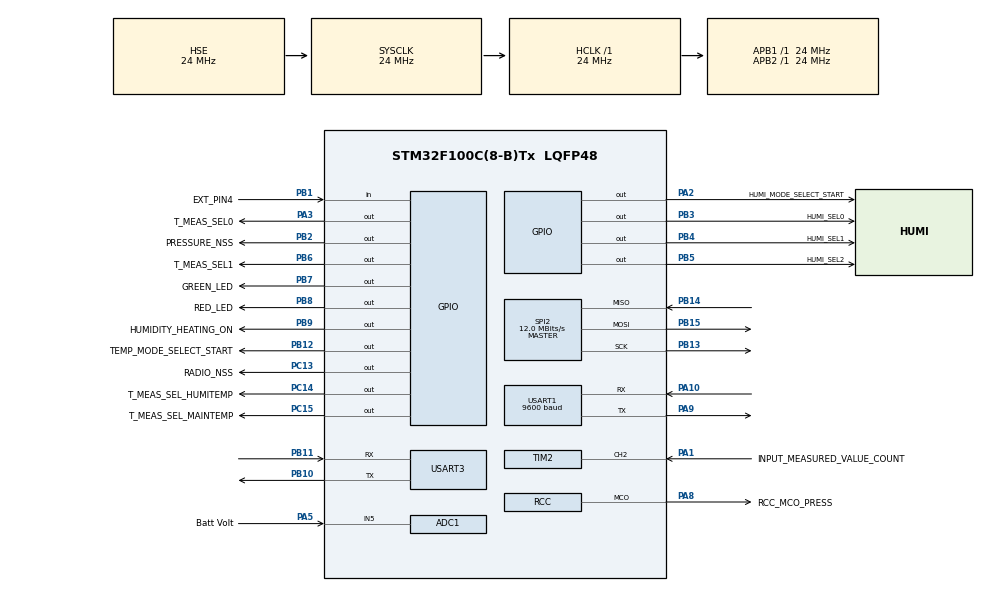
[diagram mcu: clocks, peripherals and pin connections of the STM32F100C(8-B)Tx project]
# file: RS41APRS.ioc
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ADC1.Channel-0\#ChannelRegularConversion=ADC_CHANNEL_5
ADC1.NbrOfConversionFlag=1
ADC1.Rank-0\#ChannelRegularConversion=1
ADC1.SamplingTime-0\#ChannelRegularConversion=ADC_SAMPLETIME_1CYCLE_5
ADC1.master=1
Mcu.Family=STM32F1
Mcu.Name=STM32F100C(8-B)Tx
Mcu.Package=LQFP48
NVIC.PriorityGroup=NVIC_PRIORITYGROUP_4
NVIC.TIM2_IRQn=true\:0\:0\:false\:false\:true\:true\:true\:true
NVIC.TIM6_DAC_IRQn=true\:15\:0\:false\:false\:true\:false\:true\:true
NVIC.TIM7_IRQn=true\:0\:0\:false\:false\:true\:true\:true\:true
NVIC.TimeBase=TIM6_DAC_IRQn
NVIC.TimeBaseIP=TIM6
PA1.GPIO_Label=INPUT_MEASURED_VALUE_COUNT
PA1.GPIO_Mode=GPIO_MODE_INPUT
PA1.GPIO_PuPd=GPIO_NOPULL
PA1.Signal=S_TIM2_CH2
PA10.Mode=Asynchronous
PA10.Signal=USART1_RX
PA13.Mode=Serial_Wire
PA13.Signal=SYS_JTMS-SWDIO
PA14.Mode=Serial_Wire
PA14.Signal=SYS_JTCK-SWCLK
PA2.GPIO_Label=HUMI_MODE_SELECT_START
PA2.GPIO_PuPd=GPIO_NOPULL
PA2.PinState=GPIO_PIN_RESET
PA2.Signal=GPIO_Output
PA3.GPIO_Label=T_MEAS_SEL0
PA3.Signal=GPIO_Output
PA5.GPIO_Label=Batt Volt
PA5.Signal=ADCx_IN5
PA8.GPIO_Label=RCC_MCO_PRESS
PA8.Mode=Clock-out
PA8.Signal=RCC_MCO
PA9.Mode=Asynchronous
PA9.Signal=USART1_TX
PB1.GPIO_Label=EXT_PIN4
PB1.Signal=GPIO_Input
PB10.Mode=Asynchronous
PB10.Signal=USART3_TX
PB11.Mode=Asynchronous
PB11.Signal=USART3_RX
PB12.GPIO_Label=TEMP_MODE_SELECT_START
PB12.GPIO_PuPd=GPIO_NOPULL
PB12.Signal=GPIO_Output
PB13.Mode=Full_Duplex_Master
PB13.Signal=SPI2_SCK
PB14.Mode=Full_Duplex_Master
PB14.Signal=SPI2_MISO
PB15.Mode=Full_Duplex_Master
PB15.Signal=SPI2_MOSI
PB2.GPIO_Label=PRESSURE_NSS
PB2.Signal=GPIO_Output
PB3.GPIO_Label=HUMI_SEL0
PB3.Signal=GPIO_Output
PB4.GPIO_Label=HUMI_SEL1
PB4.Signal=GPIO_Output
PB5.GPIO_Label=HUMI_SEL2
PB5.Signal=GPIO_Output
PB6.GPIO_Label=T_MEAS_SEL1
PB6.Signal=GPIO_Output
PB7.GPIO_Label=GREEN_LED
PB7.Signal=GPIO_Output
PB8.GPIO_Label=RED_LED
PB8.Signal=GPIO_Output
PB9.GPIO_Label=HUMIDITY_HEATING_ON
PB9.Signal=GPIO_Output
PC13-TAMPER-RTC.GPIO_Label=RADIO_NSS
PC13-TAMPER-RTC.Signal=GPIO_Output
PC14-OSC32_IN.GPIO_Label=T_MEAS_SEL_HUMITEMP
PC14-OSC32_IN.Signal=GPIO_Output
PC15-OSC32_OUT.GPIO_Label=T_MEAS_SEL_MAINTEMP
PC15-OSC32_OUT.Signal=GPIO_Output
PD0-OSC_IN.Mode=HSE-External-Oscillator
PD0-OSC_IN.Signal=RCC_OSC_IN
PD1-OSC_OUT.Mode=HSE-External-Oscillator
PD1-OSC_OUT.Signal=RCC_OSC_OUT
ProjectManager.HeapSize=0x200
ProjectManager.StackSize=0x400
ProjectManager.TargetToolchain=STM32CubeIDE
RCC.AHBFreq_Value=24000000
RCC.APB1Freq_Value=24000000
RCC.APB1TimFreq_Value=24000000
RCC.APB2Freq_Value=24000000
RCC.APB2TimFreq_Value=24000000
RCC.HCLKFreq_Value=24000000
RCC.HSEDivPLL=RCC_HSE_PREDIV_DIV2
RCC.HSE_VALUE=24000000
RCC.PLLSource=RCC_PLLSOURCE_HSE
RCC.RCC_MCOSource=RCC_MCO1SOURCE_HSE
RCC.SYSCLKFreq_VALUE=24000000
RCC.SYSCLKSource=RCC_SYSCLKSOURCE_HSE
SH.ADCx_IN5.0=ADC1_IN5,IN5
SH.S_TIM2_CH2.0=TIM2_CH2,Input_Capture2_from_TI2
SPI2.CalculateBaudRate=12.0 MBits/s
SPI2.Direction=SPI_DIRECTION_2LINES
SPI2.Mode=SPI_MODE_MASTER
SPI2.VirtualType=VM_MASTER
TIM1.Period=0xFFFF-1
TIM1.Prescaler=24-1
TIM15.AutoReloadPreload=TIM_AUTORELOAD_PRELOAD_ENABLE
TIM15.Channel-PWM\ Generation2\ No\ Output=TIM_CHANNEL_2
TIM15.Period=4999
TIM15.Prescaler=24-1
TIM15.Pulse-PWM\ Generation2\ No\ Output=2000
TIM2.Channel-Input_Capture2_from_TI2=TIM_CHANNEL_2
TIM2.Prescaler=0
TIM7.Period=1000
TIM7.Prescaler=23999
USART1.BaudRate=9600
USART1.VirtualMode=VM_ASYNC
USART3.VirtualMode=VM_ASYNC
VP_SYS_VS_tim6.Mode=TIM6
VP_TIM15_VS_ClockSourceINT.Mode=Internal
VP_TIM15_VS_no_output2.Mode=PWM Generation2 No Output
VP_TIM1_VS_ClockSourceINT.Mode=Internal
VP_TIM2_VS_ClockSourceINT.Mode=Internal
VP_TIM7_VS_ClockSourceINT.Mode=Enable_Timer
board=custom

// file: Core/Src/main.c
/* USER CODE BEGIN Header */
/**
  ******************************************************************************
  * @file           : main.c
  * @brief          : Main program body
  ******************************************************************************
  * @attention
  *
  * Copyright (c) 2024 STMicroelectronics.
  * All rights reserved.
  *
  * This software is licensed under terms that can be found in the LICENSE file
  * in the root directory of this software component.
  * If no LICENSE file comes with this software, it is provided AS-IS.
  *
  ******************************************************************************
  */
/* USER CODE END Header */
#include "main.h"

/* USER CODE BEGIN Includes */
#include <string.h>
#include "aprsModem.h"
#include "radio.h"
#include "bell.h"
#include "Setup_Si4032.h"
#include "config.h"
#include "cw.h"
#include "gps.h"
#include "ubxg6010.h"

/* USER CODE END Includes */

ADC_HandleTypeDef hadc1;

SPI_HandleTypeDef hspi2;

TIM_HandleTypeDef htim1;
TIM_HandleTypeDef htim2;
TIM_HandleTypeDef htim7;
TIM_HandleTypeDef htim15;

UART_HandleTypeDef huart1;
UART_HandleTypeDef huart3;

void SystemClock_Config(void);
static void MX_GPIO_Init(void);
static void MX_USART1_UART_Init(void);
static void MX_ADC1_Init(void);
static void MX_USART3_UART_Init(void);
static void MX_TIM2_Init(void);
static void MX_TIM7_Init(void);
static void MX_TIM15_Init(void);
static void MX_SPI2_Init(void);
static void MX_TIM1_Init(void);

/* USER CODE BEGIN 0 */
int oneSecTic       = 0;
int sendAPRSInfo    = 0;
uint16_t pwmPeriod;
uint8_t greenLEDToggleRate =5;
uint8_t fix = 0;

void setGreenLEDToggleRate(uint8_t LEDToggleRate)
{
	greenLEDToggleRate = LEDToggleRate;
}

/* USER CODE END 0 */

int main(void)
{
  /* USER CODE BEGIN 1 */

	HAL_StatusTypeDef HAL_Status;
	TIM_OC_InitTypeDef sConfigOC = {0};

  /* USER CODE END 1 */

  /* MCU Configuration--------------------------------------------------------*/

  /* Reset of all peripherals, Initializes the Flash interface and the Systick. */
  HAL_Init();

  /* Configure the system clock */
  SystemClock_Config();

  /* Initialize all configured peripherals */
  MX_GPIO_Init();
  MX_USART1_UART_Init();
  MX_ADC1_Init();
  MX_USART3_UART_Init();
  MX_TIM2_Init();
  MX_TIM7_Init();
  MX_TIM15_Init();
  MX_SPI2_Init();
  MX_TIM1_Init();
  /* USER CODE BEGIN 2 */

  bellInitialize(&htim1,&htim15);
  pwmPeriod = bellModemPwmGetPeriod(BELL_SPACE_TONE);

  htim15.Init.Prescaler = 24 - 1; // tick every 1/1000000 s
  htim15.Init.CounterMode = TIM_COUNTERMODE_UP;
  htim15.Init.Period = pwmPeriod;
  htim15.Init.ClockDivision = TIM_CLOCKDIVISION_DIV1;
  htim15.Init.RepetitionCounter = 0;
  if (HAL_TIM_Base_Init(&htim15) != HAL_OK)
  {
	Error_Handler();
  }

  sConfigOC.OCMode = TIM_OCMODE_TOGGLE;
  sConfigOC.Pulse = 0;
  sConfigOC.OCPolarity = TIM_OCPOLARITY_HIGH;
  sConfigOC.OCNPolarity = TIM_OCNPOLARITY_HIGH;
  sConfigOC.OCFastMode = TIM_OCFAST_ENABLE;
  sConfigOC.OCIdleState = TIM_OCIDLESTATE_RESET;
  sConfigOC.OCNIdleState = TIM_OCNIDLESTATE_RESET;
  if (HAL_TIM_PWM_ConfigChannel(&htim15, &sConfigOC, TIM_CHANNEL_2) != HAL_OK)
  {
	  Error_Handler();
  }

  HAL_Status = setupRadio(&hspi2);
  if(HAL_Status == HAL_OK)
  {
	  //Turn tx on
	  HAL_Status = enableTx();

	  if (HAL_SPI_DeInit(&hspi2) != HAL_OK)
	  {
		Error_Handler();
	  }

	  remapTIM15();

	  sendCallCW(CALL_SIGN,strlen(CALL_SIGN));

	  if (HAL_SPI_Init(&hspi2) != HAL_OK)
	  {
		Error_Handler();
	  }
	  //Turn tx off
	  HAL_Status = disableTx();
	  HAL_GPIO_WritePin(GPIOB, RED_LED_Pin, GPIO_PIN_SET);

	  HAL_Delay(1000);
	  HAL_GPIO_WritePin(GPIOB, GREEN_LED_Pin, GPIO_PIN_SET);
	  HAL_Status = gpsInit(&huart1);
	  if(HAL_Status == HAL_OK)
	  {
		  if (HAL_TIM_Base_Start_IT(&htim7) != HAL_OK)
		  {
		    Error_Handler();
		  }
	  }
  }

  /* USER CODE END 2 */

  /* Infinite loop */
  /* USER CODE BEGIN WHILE */
  while (1)
  {

	  HAL_Status   = ubxg6010ProcessGPSData(&huart1);

	  if(sendAPRSInfo)
	  {
		  fix = gpsUpdatetData();
		  if (fix)
		  {
			  //Turn tx on
			  HAL_Status = enableTx();

			  if (HAL_SPI_DeInit(&hspi2) != HAL_OK)
			  {
				Error_Handler();
			  }
			  __HAL_AFIO_REMAP_TIM15_ENABLE();
			  remapTIM15();

			  aprsModemSend();
			  updateGoodPacketCount();
			  __HAL_AFIO_REMAP_TIM15_DISABLE();
			  if (HAL_SPI_Init(&hspi2) != HAL_OK)
			  {
				Error_Handler();
			  }
			  //Turn tx off
			  HAL_Status = disableTx();
			  HAL_GPIO_WritePin(GPIOB, RED_LED_Pin, GPIO_PIN_SET);
			  sendAPRSInfo = 0;
		  }
	  }

	  HAL_Delay(10);

    /* USER CODE END WHILE */

  }
}

void SystemClock_Config(void)
{
  RCC_OscInitTypeDef RCC_OscInitStruct = {0};
  RCC_ClkInitTypeDef RCC_ClkInitStruct = {0};
  RCC_PeriphCLKInitTypeDef PeriphClkInit = {0};

  /** Initializes the RCC Oscillators according to the specified parameters
  * in the RCC_OscInitTypeDef structure.
  */
  RCC_OscInitStruct.OscillatorType = RCC_OSCILLATORTYPE_HSE;
  RCC_OscInitStruct.HSEState = RCC_HSE_ON;
  RCC_OscInitStruct.PLL.PLLState = RCC_PLL_NONE;
  if (HAL_RCC_OscConfig(&RCC_OscInitStruct) != HAL_OK)
  {
    Error_Handler();
  }

  /** Initializes the CPU, AHB and APB buses clocks
  */
  RCC_ClkInitStruct.ClockType = RCC_CLOCKTYPE_HCLK|RCC_CLOCKTYPE_SYSCLK
                              |RCC_CLOCKTYPE_PCLK1|RCC_CLOCKTYPE_PCLK2;
  RCC_ClkInitStruct.SYSCLKSource = RCC_SYSCLKSOURCE_HSE;
  RCC_ClkInitStruct.AHBCLKDivider = RCC_SYSCLK_DIV1;
  RCC_ClkInitStruct.APB1CLKDivider = RCC_HCLK_DIV1;
  RCC_ClkInitStruct.APB2CLKDivider = RCC_HCLK_DIV1;

  if (HAL_RCC_ClockConfig(&RCC_ClkInitStruct, FLASH_LATENCY_0) != HAL_OK)
  {
    Error_Handler();
  }
  PeriphClkInit.PeriphClockSelection = RCC_PERIPHCLK_ADC;
  PeriphClkInit.AdcClockSelection = RCC_ADCPCLK2_DIV2;
  if (HAL_RCCEx_PeriphCLKConfig(&PeriphClkInit) != HAL_OK)
  {
    Error_Handler();
  }
  HAL_RCC_MCOConfig(RCC_MCO, RCC_MCO1SOURCE_HSE, RCC_MCODIV_1);
}

static void MX_ADC1_Init(void)
{

  ADC_ChannelConfTypeDef sConfig = {0};

  /** Common config
  */
  hadc1.Instance = ADC1;
  hadc1.Init.ScanConvMode = ADC_SCAN_DISABLE;
  hadc1.Init.ContinuousConvMode = DISABLE;
  hadc1.Init.DiscontinuousConvMode = DISABLE;
  hadc1.Init.ExternalTrigConv = ADC_SOFTWARE_START;
  hadc1.Init.DataAlign = ADC_DATAALIGN_RIGHT;
  hadc1.Init.NbrOfConversion = 1;
  if (HAL_ADC_Init(&hadc1) != HAL_OK)
  {
    Error_Handler();
  }

  /** Configure Regular Channel
  */
  sConfig.Channel = ADC_CHANNEL_5;
  sConfig.Rank = ADC_REGULAR_RANK_1;
  sConfig.SamplingTime = ADC_SAMPLETIME_1CYCLE_5;
  if (HAL_ADC_ConfigChannel(&hadc1, &sConfig) != HAL_OK)
  {
    Error_Handler();
  }

}

static void MX_SPI2_Init(void)
{

  /* SPI2 parameter configuration*/
  hspi2.Instance = SPI2;
  hspi2.Init.Mode = SPI_MODE_MASTER;
  hspi2.Init.Direction = SPI_DIRECTION_2LINES;
  hspi2.Init.DataSize = SPI_DATASIZE_8BIT;
  hspi2.Init.CLKPolarity = SPI_POLARITY_LOW;
  hspi2.Init.CLKPhase = SPI_PHASE_1EDGE;
  hspi2.Init.NSS = SPI_NSS_SOFT;
  hspi2.Init.BaudRatePrescaler = SPI_BAUDRATEPRESCALER_2;
  hspi2.Init.FirstBit = SPI_FIRSTBIT_MSB;
  hspi2.Init.TIMode = SPI_TIMODE_DISABLE;
  hspi2.Init.CRCCalculation = SPI_CRCCALCULATION_DISABLE;
  hspi2.Init.CRCPolynomial = 10;
  if (HAL_SPI_Init(&hspi2) != HAL_OK)
  {
    Error_Handler();
  }

}

static void MX_TIM1_Init(void)
{

  TIM_ClockConfigTypeDef sClockSourceConfig = {0};
  TIM_MasterConfigTypeDef sMasterConfig = {0};

  htim1.Instance = TIM1;
  htim1.Init.Prescaler = 24-1;
  htim1.Init.CounterMode = TIM_COUNTERMODE_UP;
  htim1.Init.Period = 0xFFFF-1;
  htim1.Init.ClockDivision = TIM_CLOCKDIVISION_DIV1;
  htim1.Init.RepetitionCounter = 0;
  htim1.Init.AutoReloadPreload = TIM_AUTORELOAD_PRELOAD_DISABLE;
  if (HAL_TIM_Base_Init(&htim1) != HAL_OK)
  {
    Error_Handler();
  }
  sClockSourceConfig.ClockSource = TIM_CLOCKSOURCE_INTERNAL;
  if (HAL_TIM_ConfigClockSource(&htim1, &sClockSourceConfig) != HAL_OK)
  {
    Error_Handler();
  }
  sMasterConfig.MasterOutputTrigger = TIM_TRGO_RESET;
  sMasterConfig.MasterSlaveMode = TIM_MASTERSLAVEMODE_DISABLE;
  if (HAL_TIMEx_MasterConfigSynchronization(&htim1, &sMasterConfig) != HAL_OK)
  {
    Error_Handler();
  }
  /* USER CODE BEGIN TIM1_Init 2 */
  HAL_TIM_Base_Start(&htim1);
  /* USER CODE END TIM1_Init 2 */

}

static void MX_TIM2_Init(void)
{

  TIM_ClockConfigTypeDef sClockSourceConfig = {0};
  TIM_MasterConfigTypeDef sMasterConfig = {0};
  TIM_IC_InitTypeDef sConfigIC = {0};

  htim2.Instance = TIM2;
  htim2.Init.Prescaler = 0;
  htim2.Init.CounterMode = TIM_COUNTERMODE_UP;
  htim2.Init.Period = 65535;
  htim2.Init.ClockDivision = TIM_CLOCKDIVISION_DIV1;
  htim2.Init.AutoReloadPreload = TIM_AUTORELOAD_PRELOAD_DISABLE;
  if (HAL_TIM_Base_Init(&htim2) != HAL_OK)
  {
    Error_Handler();
  }
  sClockSourceConfig.ClockSource = TIM_CLOCKSOURCE_INTERNAL;
  if (HAL_TIM_ConfigClockSource(&htim2, &sClockSourceConfig) != HAL_OK)
  {
    Error_Handler();
  }
  if (HAL_TIM_IC_Init(&htim2) != HAL_OK)
  {
    Error_Handler();
  }
  sMasterConfig.MasterOutputTrigger = TIM_TRGO_RESET;
  sMasterConfig.MasterSlaveMode = TIM_MASTERSLAVEMODE_DISABLE;
  if (HAL_TIMEx_MasterConfigSynchronization(&htim2, &sMasterConfig) != HAL_OK)
  {
    Error_Handler();
  }
  sConfigIC.ICPolarity = TIM_INPUTCHANNELPOLARITY_RISING;
  sConfigIC.ICSelection = TIM_ICSELECTION_DIRECTTI;
  sConfigIC.ICPrescaler = TIM_ICPSC_DIV1;
  sConfigIC.ICFilter = 0;
  if (HAL_TIM_IC_ConfigChannel(&htim2, &sConfigIC, TIM_CHANNEL_2) != HAL_OK)
  {
    Error_Handler();
  }

}

static void MX_TIM7_Init(void)
{

  TIM_MasterConfigTypeDef sMasterConfig = {0};

  htim7.Instance = TIM7;
  htim7.Init.Prescaler = 23999;
  htim7.Init.CounterMode = TIM_COUNTERMODE_UP;
  htim7.Init.Period = 1000;
  htim7.Init.AutoReloadPreload = TIM_AUTORELOAD_PRELOAD_DISABLE;
  if (HAL_TIM_Base_Init(&htim7) != HAL_OK)
  {
    Error_Handler();
  }
  sMasterConfig.MasterOutputTrigger = TIM_TRGO_RESET;
  sMasterConfig.MasterSlaveMode = TIM_MASTERSLAVEMODE_DISABLE;
  if (HAL_TIMEx_MasterConfigSynchronization(&htim7, &sMasterConfig) != HAL_OK)
  {
    Error_Handler();
  }

}

static void MX_TIM15_Init(void)
{

  TIM_ClockConfigTypeDef sClockSourceConfig = {0};
  TIM_MasterConfigTypeDef sMasterConfig = {0};
  TIM_OC_InitTypeDef sConfigOC = {0};
  TIM_BreakDeadTimeConfigTypeDef sBreakDeadTimeConfig = {0};

  htim15.Instance = TIM15;
  htim15.Init.Prescaler = 24-1;
  htim15.Init.CounterMode = TIM_COUNTERMODE_UP;
  htim15.Init.Period = 3;
  htim15.Init.ClockDivision = TIM_CLOCKDIVISION_DIV1;
  htim15.Init.RepetitionCounter = 0;
  htim15.Init.AutoReloadPreload = TIM_AUTORELOAD_PRELOAD_ENABLE;
  if (HAL_TIM_Base_Init(&htim15) != HAL_OK)
  {
    Error_Handler();
  }
  sClockSourceConfig.ClockSource = TIM_CLOCKSOURCE_INTERNAL;
  if (HAL_TIM_ConfigClockSource(&htim15, &sClockSourceConfig) != HAL_OK)
  {
    Error_Handler();
  }
  if (HAL_TIM_PWM_Init(&htim15) != HAL_OK)
  {
    Error_Handler();
  }
  sMasterConfig.MasterOutputTrigger = TIM_TRGO_RESET;
  sMasterConfig.MasterSlaveMode = TIM_MASTERSLAVEMODE_DISABLE;
  if (HAL_TIMEx_MasterConfigSynchronization(&htim15, &sMasterConfig) != HAL_OK)
  {
    Error_Handler();
  }
  sConfigOC.OCMode = TIM_OCMODE_PWM1;
  sConfigOC.Pulse = 0;
  sConfigOC.OCPolarity = TIM_OCPOLARITY_HIGH;
  sConfigOC.OCNPolarity = TIM_OCNPOLARITY_HIGH;
  sConfigOC.OCFastMode = TIM_OCFAST_DISABLE;
  sConfigOC.OCIdleState = TIM_OCIDLESTATE_RESET;
  sConfigOC.OCNIdleState = TIM_OCNIDLESTATE_RESET;
  if (HAL_TIM_PWM_ConfigChannel(&htim15, &sConfigOC, TIM_CHANNEL_2) != HAL_OK)
  {
    Error_Handler();
  }
  sBreakDeadTimeConfig.OffStateRunMode = TIM_OSSR_DISABLE;
  sBreakDeadTimeConfig.OffStateIDLEMode = TIM_OSSI_DISABLE;
  sBreakDeadTimeConfig.LockLevel = TIM_LOCKLEVEL_OFF;
  sBreakDeadTimeConfig.DeadTime = 0;
  sBreakDeadTimeConfig.BreakState = TIM_BREAK_DISABLE;
  sBreakDeadTimeConfig.BreakPolarity = TIM_BREAKPOLARITY_HIGH;
  sBreakDeadTimeConfig.AutomaticOutput = TIM_AUTOMATICOUTPUT_DISABLE;
  if (HAL_TIMEx_ConfigBreakDeadTime(&htim15, &sBreakDeadTimeConfig) != HAL_OK)
  {
    Error_Handler();
  }
  /* USER CODE BEGIN TIM15_Init 2 */

  HAL_TIM_PWM_Start(&htim15,TIM_CHANNEL_2);
  /* USER CODE END TIM15_Init 2 */

}

static void MX_USART1_UART_Init(void)
{

  huart1.Instance = USART1;
  huart1.Init.BaudRate = 9600;
  huart1.Init.WordLength = UART_WORDLENGTH_8B;
  huart1.Init.StopBits = UART_STOPBITS_1;
  huart1.Init.Parity = UART_PARITY_NONE;
  huart1.Init.Mode = UART_MODE_TX_RX;
  huart1.Init.HwFlowCtl = UART_HWCONTROL_NONE;
  huart1.Init.OverSampling = UART_OVERSAMPLING_16;
  if (HAL_UART_Init(&huart1) != HAL_OK)
  {
    Error_Handler();
  }

}

static void MX_USART3_UART_Init(void)
{

  huart3.Instance = USART3;
  huart3.Init.BaudRate = 115200;
  huart3.Init.WordLength = UART_WORDLENGTH_8B;
  huart3.Init.StopBits = UART_STOPBITS_1;
  huart3.Init.Parity = UART_PARITY_NONE;
  huart3.Init.Mode = UART_MODE_TX_RX;
  huart3.Init.HwFlowCtl = UART_HWCONTROL_NONE;
  huart3.Init.OverSampling = UART_OVERSAMPLING_16;
  if (HAL_UART_Init(&huart3) != HAL_OK)
  {
    Error_Handler();
  }

}

static void MX_GPIO_Init(void)
{
  GPIO_InitTypeDef GPIO_InitStruct = {0};

  /* GPIO Ports Clock Enable */
  __HAL_RCC_GPIOC_CLK_ENABLE();
  __HAL_RCC_GPIOD_CLK_ENABLE();
  __HAL_RCC_GPIOA_CLK_ENABLE();
  __HAL_RCC_GPIOB_CLK_ENABLE();

  /*Configure GPIO pin Output Level */
  HAL_GPIO_WritePin(GPIOC, RADIO_NSS_Pin|T_MEAS_SEL_HUMITEMP_Pin|T_MEAS_SEL_MAINTEMP_Pin, GPIO_PIN_RESET);

  /*Configure GPIO pin Output Level */
  HAL_GPIO_WritePin(GPIOA, HUMI_MODE_SELECT_START_Pin|T_MEAS_SEL0_Pin, GPIO_PIN_RESET);

  /*Configure GPIO pin Output Level */
  HAL_GPIO_WritePin(GPIOB, PRESSURE_NSS_Pin|TEMP_MODE_SELECT_START_Pin|HUMI_SEL0_Pin|HUMI_SEL1_Pin
                          |HUMI_SEL2_Pin|T_MEAS_SEL1_Pin|GREEN_LED_Pin|RED_LED_Pin
                          |HUMIDITY_HEATING_ON_Pin, GPIO_PIN_RESET);

  /*Configure GPIO pins : RADIO_NSS_Pin T_MEAS_SEL_HUMITEMP_Pin T_MEAS_SEL_MAINTEMP_Pin */
  GPIO_InitStruct.Pin = RADIO_NSS_Pin|T_MEAS_SEL_HUMITEMP_Pin|T_MEAS_SEL_MAINTEMP_Pin;
  GPIO_InitStruct.Mode = GPIO_MODE_OUTPUT_PP;
  GPIO_InitStruct.Pull = GPIO_NOPULL;
  GPIO_InitStruct.Speed = GPIO_SPEED_FREQ_LOW;
  HAL_GPIO_Init(GPIOC, &GPIO_InitStruct);

  /*Configure GPIO pins : HUMI_MODE_SELECT_START_Pin T_MEAS_SEL0_Pin */
  GPIO_InitStruct.Pin = HUMI_MODE_SELECT_START_Pin|T_MEAS_SEL0_Pin;
  GPIO_InitStruct.Mode = GPIO_MODE_OUTPUT_PP;
  GPIO_InitStruct.Pull = GPIO_NOPULL;
  GPIO_InitStruct.Speed = GPIO_SPEED_FREQ_LOW;
  HAL_GPIO_Init(GPIOA, &GPIO_InitStruct);

  /*Configure GPIO pin : EXT_PIN4_Pin */
  GPIO_InitStruct.Pin = EXT_PIN4_Pin;
  GPIO_InitStruct.Mode = GPIO_MODE_INPUT;
  GPIO_InitStruct.Pull = GPIO_NOPULL;
  HAL_GPIO_Init(EXT_PIN4_GPIO_Port, &GPIO_InitStruct);

  /*Configure GPIO pins : PRESSURE_NSS_Pin TEMP_MODE_SELECT_START_Pin HUMI_SEL0_Pin HUMI_SEL1_Pin
                           HUMI_SEL2_Pin T_MEAS_SEL1_Pin GREEN_LED_Pin RED_LED_Pin
                           HUMIDITY_HEATING_ON_Pin */
  GPIO_InitStruct.Pin = PRESSURE_NSS_Pin|TEMP_MODE_SELECT_START_Pin|HUMI_SEL0_Pin|HUMI_SEL1_Pin
                          |HUMI_SEL2_Pin|T_MEAS_SEL1_Pin|GREEN_LED_Pin|RED_LED_Pin
                          |HUMIDITY_HEATING_ON_Pin;
  GPIO_InitStruct.Mode = GPIO_MODE_OUTPUT_PP;
  GPIO_InitStruct.Pull = GPIO_NOPULL;
  GPIO_InitStruct.Speed = GPIO_SPEED_FREQ_LOW;
  HAL_GPIO_Init(GPIOB, &GPIO_InitStruct);

  /*Configure GPIO pin : RCC_MCO_PRESS_Pin */
  GPIO_InitStruct.Pin = RCC_MCO_PRESS_Pin;
  GPIO_InitStruct.Mode = GPIO_MODE_AF_PP;
  GPIO_InitStruct.Speed = GPIO_SPEED_FREQ_LOW;
  HAL_GPIO_Init(RCC_MCO_PRESS_GPIO_Port, &GPIO_InitStruct);

}

void HAL_TIM_PeriodElapsedCallback(TIM_HandleTypeDef *htim)
{
  if (htim->Instance == TIM6) {
    HAL_IncTick();
  }
  /* USER CODE BEGIN Callback 1 */

  if (htim->Instance == TIM7)
  {
	  oneSecTic++;

	  if(oneSecTic % 12 == 0)
	  {
		  sendAPRSInfo = 1;
	  }

#ifndef CAL_US_DELAY
	  if(oneSecTic % greenLEDToggleRate ==0 )
		  HAL_GPIO_TogglePin(GPIOB, GREEN_LED_Pin);
#endif
  }

  /* USER CODE END Callback 1 */
}

void Error_Handler(void)
{
  __disable_irq();
  while (1)
  {
  }
}
